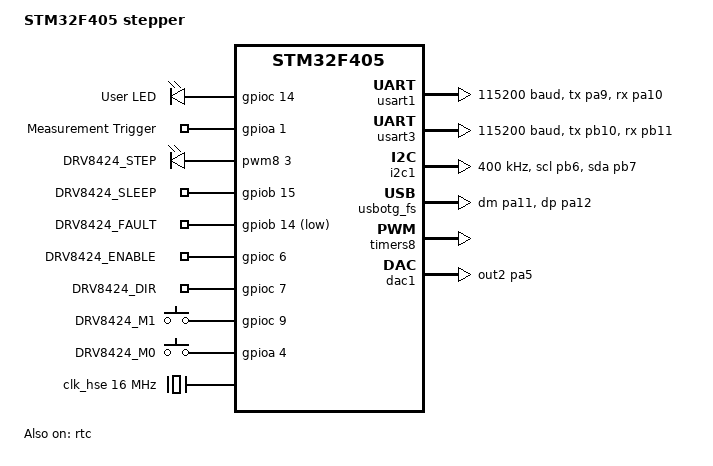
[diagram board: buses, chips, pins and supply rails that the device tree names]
/*
 * Copyright (c) 2026 Paul Reisch
 *
 * SPDX-License-Identifier: Apache-2.0
 */

/dts-v1/;
#include <st/f4/stm32f405Xg.dtsi>
#include <st/f4/stm32f405rgtx-pinctrl.dtsi>
#include "stm32f405_stepper.dtsi"


/ {
	model = "STM32F405 stepper";
	compatible = "st,stm32f405";

	chosen {
		zephyr,console = &usart1;
		zephyr,shell-uart = &usart1;
		zephyr,sram = &sram0;
		zephyr,flash = &flash0;
		zephyr,dtcm = &ccm0;
	};

	leds {
		compatible = "gpio-leds";

		led: led {
			gpios = <&gpioc 14 GPIO_ACTIVE_HIGH>;
			label = "User LED";
		};
		//     as5047p_cs: as5047p_cs {
			//         gpios = <&gpioa 4 GPIO_ACTIVE_LOW>;
			//         label = "AS5047P_CS";
		//     };
	};

	// /* Define the Index Pin as a GPIO for Interrupt use */
	// encoder_index: encoder_index {
		//     compatible = "gpio-keys";
		//     index_pin: index_pin {
			//         gpios = <&gpioa 8 (GPIO_ACTIVE_HIGH | GPIO_PULL_DOWN)>;
			//         label = "Encoder Index";
		//     };
	// };
	trigger_signal {
		compatible = "gpio-keys";
		meas_trigger: meas_trigger {
			gpios = <&gpioa 1 GPIO_ACTIVE_HIGH>;
			label = "Measurement Trigger";
		};
	};

	//    pwm_leds {
		//        compatible = "pwm-leds";
		//        pwm_led0: led_pwm_0 {
			//            pwms = <&pwm2 3 PWM_MSEC(1000) PWM_POLARITY_INVERTED>; // pwmtimer channel_number pwmperiod polarity
			//            label = "Blue PWM LED";
		//        };
	//    };

	drv8424_motor_ctrl: drv8424_motor_ctrl {
		compatible = "pwm-leds";
		status = "okay";
		/* PC8 - Timer 8 Channel 3 */
		drv_step: drv_step {
			pwms = <&pwm8 3 PWM_USEC(100) PWM_POLARITY_NORMAL>;
			label = "DRV8424_STEP";
		};
	};

	drv8424_signals {
		compatible = "gpio-keys";
		drv_sleep: drv_sleep {
			gpios = <&gpiob 15 GPIO_ACTIVE_HIGH>;
			label = "DRV8424_SLEEP";
		};
		drv_fault: drv_fault {
			gpios = <&gpiob 14 (GPIO_ACTIVE_LOW | GPIO_PULL_UP)>;
			label = "DRV8424_FAULT";
		};
		drv_enable: drv_enable {
			gpios = <&gpioc 6 GPIO_ACTIVE_HIGH>;
			label = "DRV8424_ENABLE";
		};

		drv_dir: drv_dir {
			gpios = <&gpioc 7 GPIO_ACTIVE_HIGH>;
			label = "DRV8424_DIR";
		};

		drv_mode1: drv_mode1 {
			gpios = <&gpioc 9 GPIO_ACTIVE_HIGH>;
			label = "DRV8424_M1";
		};

		/* M0 is on a DAC pin (usually PA4 or PA5 on F405) */
		/* Replace 'gpioa 4' with the actual pin used if different */
		drv_mode0: drv_mode0 {
			gpios = <&gpioa 4 GPIO_ACTIVE_HIGH>;
			label = "DRV8424_M0";
		};
	};

	aliases {
		led0 = &led;
	};
};

&clk_lsi {
	status = "okay";
};

&clk_hse {
	clock-frequency = <DT_FREQ_M(16)>;
	status = "okay";
};

&pll {
	div-m = <8>;
	mul-n = <168>;
	div-p = <2>;
	div-q = <7>;
	clocks = <&clk_hse>;
	status = "okay";
};

&rcc {
	clocks = <&pll>;
	clock-frequency = <DT_FREQ_M(168)>;
	ahb-prescaler = <1>;
	apb1-prescaler = <4>;
	apb2-prescaler = <2>;
};

&usart1 {
	pinctrl-0 = <&usart1_tx_pa9 &usart1_rx_pa10>;
	pinctrl-names = "default";
	current-speed = <115200>;
	status = "okay";
};

&usart3 {
	pinctrl-0 = <&usart3_tx_pb10 &usart3_rx_pb11>;
	pinctrl-names = "default";
	current-speed = <115200>;
	status = "okay";
};

&i2c1 {
	pinctrl-0 = <&i2c1_scl_pb6 &i2c1_sda_pb7>;
	pinctrl-names = "default";
	status = "okay";
	clock-frequency = <I2C_BITRATE_FAST>;
};

//&spi1_nss_pa15 {
	//    slew-rate = "very-high-speed";
//};

//&spi1 {
	//    status = "okay";
	//    pinctrl-0 = <&spi1_sck_pa5 &spi1_miso_pa6 &spi1_mosi_pa7>;
	//    pinctrl-names = "default";
	//    // cs-gpios = <&gpioa 4 GPIO_ACTIVE_LOW>; CS was not toggled
	//    // keep this for later testing if i want to make a driver package for the this sensor else delete it at the end.
	//    // as5047p@0 {
		//        //     status = "okay";
		//        //     compatible = "ams,as5047p";
		//        //     reg = <0>;
		//        //     spi-max-frequency = <10000000>;
	//    // };
//};
//
//&spi2 {
	//    pinctrl-0 = <&spi2_sck_pb13 &spi2_miso_pb14 &spi2_mosi_pb15>;
	//    pinctrl-names = "default";
	//    status = "okay";
//};

&rtc {
	clocks = <&rcc STM32_CLOCK(APB1, 28)>,
			 <&rcc STM32_SRC_LSI RTC_SEL(2)>;
	status = "okay";
};

zephyr_udc0: &usbotg_fs {
	pinctrl-0 = <&usb_otg_fs_dm_pa11 &usb_otg_fs_dp_pa12>;
	pinctrl-names = "default";
	status = "okay";
};


&pinctrl {
	tim8_ch3_pc8: tim8_ch3_pc8 {
		pinmux = <STM32_PINMUX('C', 8, AF3)>;
		drive-push-pull;
	};
};

&timers8 {
	status = "okay";
	st,prescaler = <64>; /* Divide the timer clock by 4 or higher */
	pwm8: pwm {
		status = "okay";
		pinctrl-0 = <&tim8_ch3_pc8>;
		pinctrl-names = "default";
	};
};


&dac1 {
	status = "okay";
	pinctrl-0 = <&dac_out2_pa5>;
	pinctrl-names = "default";
};

&pinctrl {
	dac_out2_pa5: dac_out2_pa5 {
		pinmux = <STM32_PINMUX('A', 5, ANALOG)>;
	};
};


&zephyr_udc0 {
	cdc_acm_uart0: cdc_acm_uart0 {
		compatible = "zephyr,cdc-acm-uart";
	};
};
